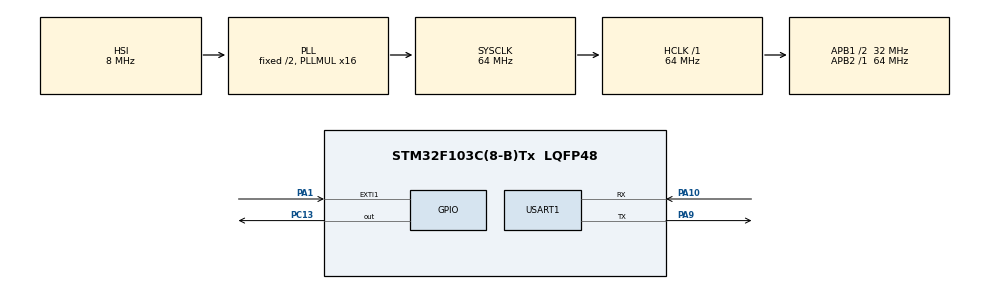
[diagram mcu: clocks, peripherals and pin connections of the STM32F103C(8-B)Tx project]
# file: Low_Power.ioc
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Mcu.Family=STM32F1
Mcu.Name=STM32F103C(8-B)Tx
Mcu.Package=LQFP48
NVIC.EXTI1_IRQn=true\:1\:0\:true\:false\:true\:true\:true\:true
NVIC.PriorityGroup=NVIC_PRIORITYGROUP_4
NVIC.USART1_IRQn=true\:1\:0\:true\:false\:true\:true\:true\:true
PA1.GPIO_PuPd=GPIO_PULLDOWN
PA1.Signal=GPXTI1
PA10.Mode=Asynchronous
PA10.Signal=USART1_RX
PA13.Mode=Serial_Wire
PA13.Signal=SYS_JTMS-SWDIO
PA14.Mode=Serial_Wire
PA14.Signal=SYS_JTCK-SWCLK
PA9.Mode=Asynchronous
PA9.Signal=USART1_TX
PC13-TAMPER-RTC.Signal=GPIO_Output
ProjectManager.HeapSize=0x200
ProjectManager.StackSize=0x400
ProjectManager.TargetToolchain=STM32CubeIDE
RCC.AHBFreq_Value=64000000
RCC.APB1CLKDivider=RCC_HCLK_DIV2
RCC.APB1Freq_Value=32000000
RCC.APB1TimFreq_Value=64000000
RCC.APB2Freq_Value=64000000
RCC.APB2TimFreq_Value=64000000
RCC.HCLKFreq_Value=64000000
RCC.PLLMUL=RCC_PLL_MUL16
RCC.SYSCLKFreq_VALUE=64000000
RCC.SYSCLKSource=RCC_SYSCLKSOURCE_PLLCLK
RCC.USBFreq_Value=64000000
USART1.VirtualMode=VM_ASYNC
board=custom

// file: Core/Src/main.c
/* USER CODE BEGIN Header */
/**
  ******************************************************************************
  * @file           : main.c
  * @brief          : Main program body
  ******************************************************************************
  * @attention
  *
  * Copyright (c) 2026 STMicroelectronics.
  * All rights reserved.
  *
  * This software is licensed under terms that can be found in the LICENSE file
  * in the root directory of this software component.
  * If no LICENSE file comes with this software, it is provided AS-IS.
  *
  ******************************************************************************
  */
/* USER CODE END Header */
#include "main.h"

#include<string.h>

UART_HandleTypeDef huart1;

/* USER CODE BEGIN PV */
char *str={0};
uint8_t Rxdata;
/* USER CODE END PV */

void SystemClock_Config(void);
static void MX_GPIO_Init(void);
static void MX_USART1_UART_Init(void);

/* USER CODE BEGIN 0 */
void HAL_UART_RxCpltCallback(UART_HandleTypeDef *huart){
	HAL_UART_Receive_IT(huart, &Rxdata, 1);
}
/* USER CODE END 0 */

int main(void)
{

  /* MCU Configuration--------------------------------------------------------*/

  /* Reset of all peripherals, Initializes the Flash interface and the Systick. */
  HAL_Init();

  /* Configure the system clock */
  SystemClock_Config();

  /* Initialize all configured peripherals */
  MX_GPIO_Init();
  MX_USART1_UART_Init();

  /* Infinite loop */
  /* USER CODE BEGIN WHILE */
  while (1)
  {
	  str="about to go to sleep mode\r\n";
	  HAL_UART_Transmit(&huart1, (uint8_t*)str, strlen(str), 1000);
	  HAL_GPIO_WritePin(GPIOC, GPIO_PIN_13, 0);

	  HAL_Delay(5000);
	  HAL_SuspendTick();

	  HAL_GPIO_WritePin(GPIOC, GPIO_PIN_13, 1);

	  HAL_PWR_EnterSLEEPMode(PWR_MAINREGULATOR_ON, PWR_SLEEPENTRY_WFI);
	  HAL_ResumeTick();

	  str="wake up from sleep mode\r\n";
	  HAL_UART_Transmit(&huart1, (uint8_t*)str, strlen(str), 1000);

	  for (int i=0;i<=10;i++){
		  HAL_GPIO_TogglePin(GPIOC, GPIO_PIN_13);
		  HAL_Delay(500);
	  }

    /* USER CODE END WHILE */

  }
}

void SystemClock_Config(void)
{
  RCC_OscInitTypeDef RCC_OscInitStruct = {0};
  RCC_ClkInitTypeDef RCC_ClkInitStruct = {0};

  /** Initializes the RCC Oscillators according to the specified parameters
  * in the RCC_OscInitTypeDef structure.
  */
  RCC_OscInitStruct.OscillatorType = RCC_OSCILLATORTYPE_HSI;
  RCC_OscInitStruct.HSIState = RCC_HSI_ON;
  RCC_OscInitStruct.HSICalibrationValue = RCC_HSICALIBRATION_DEFAULT;
  RCC_OscInitStruct.PLL.PLLState = RCC_PLL_ON;
  RCC_OscInitStruct.PLL.PLLSource = RCC_PLLSOURCE_HSI_DIV2;
  RCC_OscInitStruct.PLL.PLLMUL = RCC_PLL_MUL16;
  if (HAL_RCC_OscConfig(&RCC_OscInitStruct) != HAL_OK)
  {
    Error_Handler();
  }

  /** Initializes the CPU, AHB and APB buses clocks
  */
  RCC_ClkInitStruct.ClockType = RCC_CLOCKTYPE_HCLK|RCC_CLOCKTYPE_SYSCLK
                              |RCC_CLOCKTYPE_PCLK1|RCC_CLOCKTYPE_PCLK2;
  RCC_ClkInitStruct.SYSCLKSource = RCC_SYSCLKSOURCE_PLLCLK;
  RCC_ClkInitStruct.AHBCLKDivider = RCC_SYSCLK_DIV1;
  RCC_ClkInitStruct.APB1CLKDivider = RCC_HCLK_DIV2;
  RCC_ClkInitStruct.APB2CLKDivider = RCC_HCLK_DIV1;

  if (HAL_RCC_ClockConfig(&RCC_ClkInitStruct, FLASH_LATENCY_2) != HAL_OK)
  {
    Error_Handler();
  }
}

static void MX_USART1_UART_Init(void)
{

  huart1.Instance = USART1;
  huart1.Init.BaudRate = 115200;
  huart1.Init.WordLength = UART_WORDLENGTH_8B;
  huart1.Init.StopBits = UART_STOPBITS_1;
  huart1.Init.Parity = UART_PARITY_NONE;
  huart1.Init.Mode = UART_MODE_TX_RX;
  huart1.Init.HwFlowCtl = UART_HWCONTROL_NONE;
  huart1.Init.OverSampling = UART_OVERSAMPLING_16;
  if (HAL_UART_Init(&huart1) != HAL_OK)
  {
    Error_Handler();
  }

}

static void MX_GPIO_Init(void)
{
  GPIO_InitTypeDef GPIO_InitStruct = {0};

  /* GPIO Ports Clock Enable */
  __HAL_RCC_GPIOC_CLK_ENABLE();
  __HAL_RCC_GPIOA_CLK_ENABLE();

  /*Configure GPIO pin Output Level */
  HAL_GPIO_WritePin(GPIOC, GPIO_PIN_13, GPIO_PIN_RESET);

  /*Configure GPIO pin : PC13 */
  GPIO_InitStruct.Pin = GPIO_PIN_13;
  GPIO_InitStruct.Mode = GPIO_MODE_OUTPUT_PP;
  GPIO_InitStruct.Pull = GPIO_NOPULL;
  GPIO_InitStruct.Speed = GPIO_SPEED_FREQ_LOW;
  HAL_GPIO_Init(GPIOC, &GPIO_InitStruct);

  /*Configure GPIO pin : PA1 */
  GPIO_InitStruct.Pin = GPIO_PIN_1;
  GPIO_InitStruct.Mode = GPIO_MODE_IT_RISING;
  GPIO_InitStruct.Pull = GPIO_PULLDOWN;
  HAL_GPIO_Init(GPIOA, &GPIO_InitStruct);

  /* EXTI interrupt init*/
  HAL_NVIC_SetPriority(EXTI1_IRQn, 1, 0);
  HAL_NVIC_EnableIRQ(EXTI1_IRQn);

}

void Error_Handler(void)
{
  __disable_irq();
  while (1)
  {
  }
}
